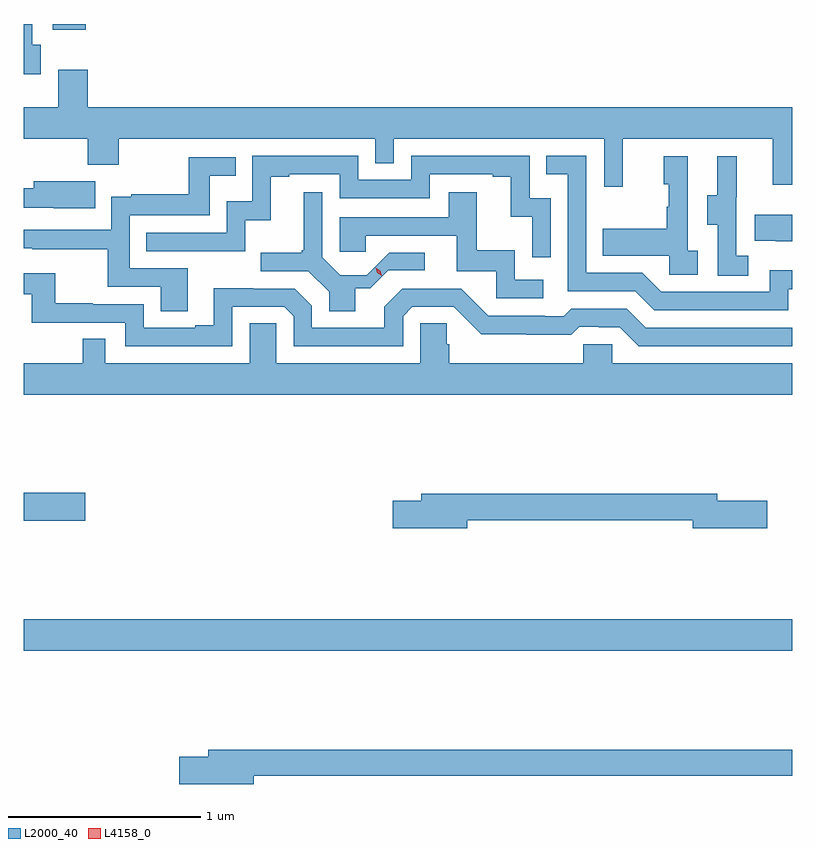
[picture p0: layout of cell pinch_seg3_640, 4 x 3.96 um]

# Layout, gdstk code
import gdstk
lib = gdstk.Library(unit=1e-6, precision=1e-09)
def R(c, l, rs):  # rectangles x0, y0, x1, y1
    for r in rs: c.add(gdstk.rectangle(r[:2], r[2:], *l))
def P(c, l, *ps):  # polygons
    for p in ps: c.add(gdstk.Polygon(p, *l))
L2000_40 = (2000, 40)
L4158_0 = (4158, 0)

pinch_seg3_640 = lib.new_cell('pinch_seg3_640')
R(pinch_seg3_640, L2000_40, [(1045.644,675.608,1049.644,675.772), (1045.644,676.283,1045.963,676.43), (1045.796,678.84,1045.967,678.87)])
P(pinch_seg3_640, L2000_40, [(1045.732,678.762),(1045.687,678.762),(1045.687,678.87),(1045.644,678.87),(1045.644,678.608),(1045.732,678.608)],
  [(1048.763,678.272),(1049.543,678.272),(1049.543,678.033),(1049.644,678.033),(1049.644,678.436),(1045.976,678.436),(1045.976,678.631),(1045.823,678.631),(1045.823,678.436),(1045.644,678.436),(1045.644,678.272),(1045.978,678.272),(1045.978,678.137),(1046.139,678.137),(1046.139,678.272),(1047.474,678.272),(1047.474,678.145),(1047.57,678.145),(1047.57,678.272),(1048.665,678.272),(1048.665,678.024),(1048.763,678.024)],
  [(1049.622,677.49),(1049.644,677.49),(1049.644,677.587),(1049.526,677.587),(1049.526,677.475),(1048.962,677.475),(1048.863,677.574),(1048.572,677.574),(1048.572,678.183),(1048.363,678.183),(1048.363,678.087),(1048.476,678.087),(1048.476,677.478),(1048.826,677.478),(1048.925,677.379),(1049.622,677.379)],
  [(1048.386,677.964),(1048.278,677.964),(1048.278,678.183),(1047.66,678.183),(1047.66,678.06),(1047.384,678.06),(1047.384,678.183),(1046.832,678.183),(1046.832,677.947),(1046.7,677.947),(1046.7,677.784),(1046.281,677.784),(1046.281,677.688),(1046.796,677.688),(1046.796,677.849),(1046.929,677.849),(1046.929,678.075),(1047.025,678.075),(1047.025,678.087),(1047.288,678.087),(1047.288,677.964),(1047.756,677.964),(1047.756,678.087),(1048.085,678.087),(1048.085,678.075),(1048.18,678.075),(1048.18,677.867),(1048.29,677.867),(1048.29,677.655),(1048.386,677.655)],
  [(1049.416,677.663),(1049.352,677.663),(1049.352,677.967),(1049.354,677.967),(1049.354,678.181),(1049.255,678.181),(1049.255,677.979),(1049.201,677.979),(1049.201,677.824),(1049.256,677.824),(1049.256,677.56),(1049.416,677.56)],
  [(1049.152,677.69),(1049.1,677.69),(1049.1,678.181),(1048.976,678.181),(1048.976,678.036),(1049.002,678.036),(1049.002,677.918),(1048.992,677.918),(1048.992,677.803),(1048.657,677.803),(1048.657,677.663),(1049.004,677.663),(1049.004,677.565),(1049.152,677.565)],
  [(1046.497,677.598),(1046.196,677.598),(1046.196,677.874),(1046.613,677.874),(1046.613,678.08),(1046.747,678.08),(1046.747,678.177),(1046.502,678.177),(1046.502,677.983),(1046.203,677.983),(1046.203,677.971),(1046.1,677.971),(1046.1,677.799),(1045.644,677.799),(1045.644,677.703),(1045.687,677.703),(1045.687,677.698),(1046.08,677.698),(1046.08,677.502),(1046.357,677.502),(1046.357,677.374),(1046.497,677.374)],
  [(1046.015,678.052),(1045.697,678.052),(1045.697,678.014),(1045.644,678.014),(1045.644,677.913),(1045.801,677.913),(1045.801,677.912),(1046.015,677.912)],
  [(1048.348,677.538),(1048.2,677.538),(1048.2,677.692),(1048.001,677.692),(1048.001,677.995),(1047.857,677.995),(1047.857,677.865),(1047.288,677.865),(1047.288,677.685),(1047.425,677.685),(1047.425,677.769),(1047.899,677.769),(1047.899,677.583),(1048.104,677.583),(1048.104,677.442),(1048.348,677.442)],
  [(1047.369,677.495),(1047.447,677.495),(1047.541,677.589),(1047.73,677.589),(1047.73,677.679),(1047.546,677.679),(1047.428,677.561),(1047.292,677.561),(1047.198,677.655),(1047.198,677.995),(1047.101,677.995),(1047.101,677.692),(1047.09,677.692),(1047.09,677.68),(1046.877,677.68),(1046.877,677.583),(1047.126,677.583),(1047.233,677.476),(1047.233,677.374),(1047.369,677.374)],
  [(1049.644,677.878),(1049.449,677.878),(1049.449,677.741),(1049.557,677.741),(1049.557,677.738),(1049.644,677.738)],
  [(1046.73,677.397),(1047,677.397),(1047.048,677.349),(1047.048,677.193),(1047.618,677.193),(1047.618,677.349),(1047.666,677.397),(1047.882,677.397),(1048.024,677.255),(1048.26,677.255),(1048.26,677.253),(1048.493,677.253),(1048.535,677.295),(1048.638,677.295),(1048.638,677.292),(1048.745,677.292),(1048.844,677.193),(1049.644,677.193),(1049.644,677.289),(1048.881,677.289),(1048.782,677.388),(1048.493,677.388),(1048.454,677.349),(1048.355,677.349),(1048.355,677.352),(1048.062,677.352),(1047.921,677.493),(1047.615,677.493),(1047.521,677.399),(1047.521,677.289),(1047.144,677.289),(1047.144,677.403),(1047.054,677.493),(1046.838,677.493),(1046.838,677.495),(1046.633,677.495),(1046.633,677.302),(1046.537,677.302),(1046.537,677.289),(1046.268,677.289),(1046.268,677.412),(1046.003,677.412),(1046.003,677.417),(1045.807,677.417),(1045.807,677.572),(1045.644,677.572),(1045.644,677.463),(1045.686,677.463),(1045.686,677.316),(1046.172,677.316),(1046.172,677.193),(1046.73,677.193)],
  [(1049.644,677.104),(1048.707,677.104),(1048.707,677.202),(1048.557,677.202),(1048.557,677.104),(1047.86,677.104),(1047.86,677.202),(1047.845,677.202),(1047.845,677.312),(1047.708,677.312),(1047.708,677.104),(1046.958,677.104),(1046.958,677.312),(1046.819,677.312),(1046.819,677.104),(1046.067,677.104),(1046.067,677.231),(1045.951,677.231),(1045.951,677.104),(1045.644,677.104),(1045.644,676.94),(1049.644,676.94)],
  [(1047.952,676.288),(1049.126,676.288),(1049.126,676.246),(1049.515,676.246),(1049.515,676.388),(1049.254,676.388),(1049.254,676.424),(1047.713,676.424),(1047.713,676.388),(1047.564,676.388),(1047.564,676.246),(1047.952,676.246)],
  [(1046.842,674.956),(1049.644,674.956),(1049.644,675.092),(1046.603,675.092),(1046.603,675.056),(1046.454,675.056),(1046.454,674.914),(1046.842,674.914)])
P(pinch_seg3_640, L4158_0, [(1047.508,677.56),(1047.484,677.574),(1047.477,677.6),(1047.477,677.601),(1047.477,677.601),(1047.5,677.586),(1047.508,677.56),(1047.508,677.56)])

lib.write_gds('pinch_seg3_640.gds')
